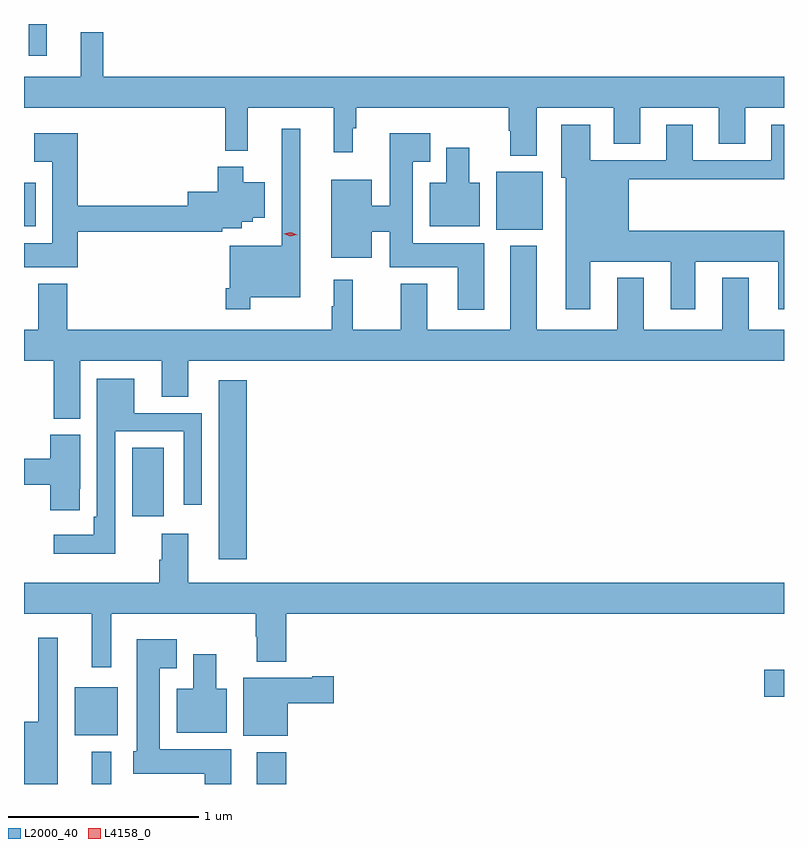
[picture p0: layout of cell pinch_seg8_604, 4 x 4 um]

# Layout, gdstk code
import gdstk
lib = gdstk.Library(unit=1e-6, precision=1e-09)
def R(c, l, rs):  # rectangles x0, y0, x1, y1
    for r in rs: c.add(gdstk.rectangle(r[:2], r[2:], *l))
def P(c, l, *ps):  # polygons
    for p in ps: c.add(gdstk.Polygon(p, *l))
L2000_40 = (2000, 40)
L4158_0 = (4158, 0)

pinch_seg8_604 = lib.new_cell('pinch_seg8_604')
R(pinch_seg8_604, L2000_40, [(202.643,1087.633,202.747,1087.804), (203.513,1087.633,203.666,1087.801), (202.553,1087.889,202.78,1088.143), (206.184,1088.093,206.287,1088.235), (203.312,1088.817,203.459,1089.757), (202.856,1089.042,203.023,1089.404), (204.773,1090.55,205.018,1090.855), (202.287,1090.568,202.348,1090.798), (202.311,1091.466,202.408,1091.633)])
P(pinch_seg8_604, L2000_40, [(204.985,1091.192),(205.391,1091.192),(205.391,1091.002),(205.531,1091.002),(205.531,1091.192),(205.943,1091.192),(205.943,1091.002),(206.083,1091.002),(206.083,1091.192),(206.287,1091.192),(206.287,1091.356),(202.703,1091.356),(202.703,1091.59),(202.586,1091.59),(202.586,1091.356),(202.287,1091.356),(202.287,1091.192),(203.347,1091.192),(203.347,1090.967),(203.465,1090.967),(203.465,1091.192),(203.918,1091.192),(203.918,1090.959),(204.017,1090.959),(204.017,1091.084),(204.035,1091.084),(204.035,1091.192),(204.838,1091.192),(204.838,1091.072),(204.845,1091.072),(204.845,1090.94),(204.985,1090.94)],
  [(205.267,1090.382),(205.691,1090.382),(205.691,1090.131),(205.819,1090.131),(205.819,1090.382),(206.258,1090.382),(206.258,1090.131),(206.287,1090.131),(206.287,1090.546),(205.471,1090.546),(205.471,1090.816),(206.287,1090.816),(206.287,1091.104),(206.219,1091.104),(206.219,1090.917),(205.807,1090.917),(205.807,1091.104),(205.667,1091.104),(205.667,1090.917),(205.267,1090.917),(205.267,1091.104),(205.115,1091.104),(205.115,1090.824),(205.139,1090.824),(205.139,1090.131),(205.267,1090.131)],
  [(203.479,1090.196),(203.74,1090.196),(203.74,1091.083),(203.643,1091.083),(203.643,1090.465),(203.37,1090.465),(203.37,1090.243),(203.35,1090.243),(203.35,1090.131),(203.479,1090.131)],
  [(202.571,1090.54),(203.33,1090.54),(203.33,1090.559),(203.434,1090.559),(203.434,1090.592),(203.49,1090.592),(203.49,1090.613),(203.554,1090.613),(203.554,1090.801),(203.44,1090.801),(203.44,1090.882),(203.306,1090.882),(203.306,1090.75),(203.15,1090.75),(203.15,1090.676),(202.571,1090.676),(202.571,1091.059),(202.341,1091.059),(202.341,1090.907),(202.436,1090.907),(202.436,1090.48),(202.287,1090.48),(202.287,1090.352),(202.571,1090.352)],
  [(204.709,1090.48),(204.334,1090.48),(204.334,1090.907),(204.424,1090.907),(204.424,1091.059),(204.212,1091.059),(204.212,1090.676),(204.118,1090.676),(204.118,1090.813),(203.903,1090.813),(203.903,1090.403),(204.118,1090.403),(204.118,1090.54),(204.212,1090.54),(204.212,1090.352),(204.569,1090.352),(204.569,1090.128),(204.709,1090.128)],
  [(204.685,1090.798),(204.631,1090.798),(204.631,1090.981),(204.509,1090.981),(204.509,1090.798),(204.422,1090.798),(204.422,1090.568),(204.685,1090.568)],
  [(202.582,1089.86),(203.012,1089.86),(203.012,1089.67),(203.152,1089.67),(203.152,1089.86),(206.287,1089.86),(206.287,1090.024),(206.101,1090.024),(206.101,1090.297),(205.961,1090.297),(205.961,1090.024),(205.549,1090.024),(205.549,1090.297),(205.409,1090.297),(205.409,1090.024),(204.985,1090.024),(204.985,1090.465),(204.845,1090.465),(204.845,1090.024),(204.409,1090.024),(204.409,1090.267),(204.269,1090.267),(204.269,1090.024),(204.018,1090.024),(204.018,1090.288),(203.918,1090.288),(203.918,1090.148),(203.907,1090.148),(203.907,1090.024),(202.514,1090.024),(202.514,1090.267),(202.361,1090.267),(202.361,1090.024),(202.287,1090.024),(202.287,1089.86),(202.444,1089.86),(202.444,1089.556),(202.582,1089.556)],
  [(202.767,1089.489),(203.127,1089.489),(203.127,1089.102),(203.223,1089.102),(203.223,1089.585),(202.867,1089.585),(202.867,1089.766),(202.671,1089.766),(202.671,1089.04),(202.655,1089.04),(202.655,1088.944),(202.443,1088.944),(202.443,1088.846),(202.767,1088.846)],
  [(202.581,1089.187),(202.582,1089.187),(202.582,1089.471),(202.426,1089.471),(202.426,1089.344),(202.287,1089.344),(202.287,1089.208),(202.426,1089.208),(202.426,1089.075),(202.581,1089.075)],
  [(202.747,1088.528),(203.506,1088.528),(203.506,1088.408),(203.513,1088.408),(203.513,1088.276),(203.666,1088.276),(203.666,1088.528),(206.287,1088.528),(206.287,1088.692),(203.152,1088.692),(203.152,1088.95),(203.012,1088.95),(203.012,1088.813),(203,1088.813),(203,1088.692),(202.287,1088.692),(202.287,1088.528),(202.643,1088.528),(202.643,1088.247),(202.747,1088.247)],
  [(202.465,1088.404),(202.361,1088.404),(202.361,1087.96),(202.287,1087.96),(202.287,1087.633),(202.465,1087.633)],
  [(203.377,1087.816),(203.002,1087.816),(203.002,1088.243),(203.092,1088.243),(203.092,1088.395),(202.88,1088.395),(202.88,1087.806),(202.862,1087.806),(202.862,1087.688),(203.237,1087.688),(203.237,1087.633),(203.377,1087.633)],
  [(203.353,1088.134),(203.299,1088.134),(203.299,1088.317),(203.177,1088.317),(203.177,1088.134),(203.09,1088.134),(203.09,1087.904),(203.353,1087.904)],
  [(203.674,1088.057),(203.917,1088.057),(203.917,1088.199),(203.804,1088.199),(203.804,1088.191),(203.441,1088.191),(203.441,1087.886),(203.674,1087.886)])
P(pinch_seg8_604, L4158_0, [(203.689,1090.516),(203.654,1090.528),(203.654,1090.528),(203.654,1090.529),(203.69,1090.536),(203.725,1090.524),(203.725,1090.524),(203.725,1090.524)])

lib.write_gds('pinch_seg8_604.gds')
